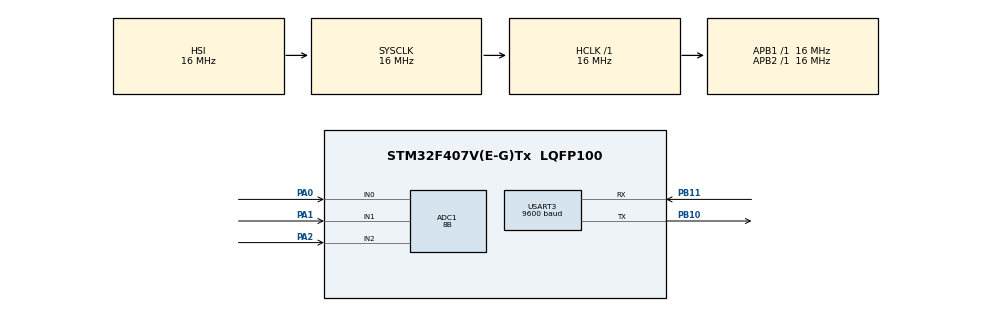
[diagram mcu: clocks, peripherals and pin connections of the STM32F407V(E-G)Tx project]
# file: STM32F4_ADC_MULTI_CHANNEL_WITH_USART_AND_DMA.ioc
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ADC1.Channel-0\#ChannelRegularConversion=ADC_CHANNEL_0
ADC1.Channel-1\#ChannelRegularConversion=ADC_CHANNEL_1
ADC1.Channel-2\#ChannelRegularConversion=ADC_CHANNEL_2
ADC1.ClockPrescaler=ADC_CLOCK_SYNC_PCLK_DIV8
ADC1.ContinuousConvMode=ENABLE
ADC1.DMAContinuousRequests=ENABLE
ADC1.EOCSelection=ADC_EOC_SINGLE_CONV
ADC1.NbrOfConversion=3
ADC1.NbrOfConversionFlag=1
ADC1.Rank-0\#ChannelRegularConversion=1
ADC1.Rank-1\#ChannelRegularConversion=2
ADC1.Rank-2\#ChannelRegularConversion=3
ADC1.Resolution=ADC_RESOLUTION_8B
ADC1.SamplingTime-0\#ChannelRegularConversion=ADC_SAMPLETIME_480CYCLES
ADC1.SamplingTime-1\#ChannelRegularConversion=ADC_SAMPLETIME_480CYCLES
ADC1.SamplingTime-2\#ChannelRegularConversion=ADC_SAMPLETIME_480CYCLES
ADC1.ScanConvMode=ENABLE
ADC1.master=1
Dma.ADC1.0.Direction=DMA_PERIPH_TO_MEMORY
Dma.ADC1.0.FIFOMode=DMA_FIFOMODE_DISABLE
Dma.ADC1.0.Instance=DMA2_Stream0
Dma.ADC1.0.MemDataAlignment=DMA_MDATAALIGN_BYTE
Dma.ADC1.0.MemInc=DMA_MINC_ENABLE
Dma.ADC1.0.Mode=DMA_CIRCULAR
Dma.ADC1.0.PeriphDataAlignment=DMA_PDATAALIGN_BYTE
Dma.ADC1.0.PeriphInc=DMA_PINC_DISABLE
Dma.ADC1.0.Priority=DMA_PRIORITY_LOW
Dma.Request0=ADC1
Mcu.Family=STM32F4
Mcu.Name=STM32F407V(E-G)Tx
Mcu.Package=LQFP100
NVIC.DMA2_Stream0_IRQn=true\:0\:0\:false\:false\:true\:false\:true
NVIC.PriorityGroup=NVIC_PRIORITYGROUP_4
PA0-WKUP.Signal=ADCx_IN0
PA1.Signal=ADCx_IN1
PA2.Signal=ADCx_IN2
PB10.Mode=Asynchronous
PB10.Signal=USART3_TX
PB11.Mode=Asynchronous
PB11.Signal=USART3_RX
ProjectManager.HeapSize=0x200
ProjectManager.StackSize=0x400
ProjectManager.TargetToolchain=STM32CubeIDE
RCC.AHBFreq_Value=16000000
RCC.APB1Freq_Value=16000000
RCC.APB2Freq_Value=16000000
RCC.CortexFreq_Value=16000000
RCC.HSE_VALUE=25000000
RCC.HSI_VALUE=16000000
RCC.LSE_VALUE=32768
RCC.SYSCLKFreq_VALUE=16000000
RCC.VCOOutputFreq_Value=192000000
SH.ADCx_IN0.0=ADC1_IN0,IN0
SH.ADCx_IN1.0=ADC1_IN1,IN1
SH.ADCx_IN2.0=ADC1_IN2,IN2
USART3.BaudRate=9600
USART3.Mode=MODE_TX
USART3.VirtualMode=VM_ASYNC
board=custom

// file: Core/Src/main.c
/* USER CODE BEGIN Header */
/**
  ******************************************************************************
  * @file           : main.c
  * @brief          : Main program body
  ******************************************************************************
  * @attention
  *
  * <h2><center>&copy; Copyright (c) 2020 STMicroelectronics.
  * All rights reserved.</center></h2>
  *
  * This software component is licensed by ST under BSD 3-Clause license,
  * the "License"; You may not use this file except in compliance with the
  * License. You may obtain a copy of the License at:
  *                        opensource.org/licenses/BSD-3-Clause
  *
  ******************************************************************************
  */
/* USER CODE END Header */
#include "main.h"

/* USER CODE BEGIN Includes */
#include "stdio.h"
#include "string.h"
/* USER CODE END Includes */

ADC_HandleTypeDef hadc1;
DMA_HandleTypeDef hdma_adc1;

UART_HandleTypeDef huart3;

/* USER CODE BEGIN PV */
uint8_t volatile getADCArray[3];
char string[25];
/* USER CODE END PV */

void SystemClock_Config(void);
static void MX_GPIO_Init(void);
static void MX_DMA_Init(void);
static void MX_ADC1_Init(void);
static void MX_USART3_UART_Init(void);

/* USER CODE BEGIN 0 */
void GPIO_Transmit_Value(void);
/* USER CODE END 0 */

int main(void)
{

  /* MCU Configuration--------------------------------------------------------*/

  /* Reset of all peripherals, Initializes the Flash interface and the Systick. */
  HAL_Init();

  /* Configure the system clock */
  SystemClock_Config();

  /* Initialize all configured peripherals */
  MX_GPIO_Init();
  MX_DMA_Init();
  MX_ADC1_Init();
  MX_USART3_UART_Init();
  /* USER CODE BEGIN 2 */
  HAL_ADC_Start_DMA(&hadc1, (uint32_t*)getADCArray, 3);
  /* USER CODE END 2 */

  /* Infinite loop */
  while (1)
  {

    /* USER CODE BEGIN 3 */
	GPIO_Transmit_Value();
  }
  /* USER CODE END 3 */
}

void SystemClock_Config(void)
{
  RCC_OscInitTypeDef RCC_OscInitStruct = {0};
  RCC_ClkInitTypeDef RCC_ClkInitStruct = {0};

  /** Configure the main internal regulator output voltage
  */
  __HAL_RCC_PWR_CLK_ENABLE();
  __HAL_PWR_VOLTAGESCALING_CONFIG(PWR_REGULATOR_VOLTAGE_SCALE1);
  /** Initializes the RCC Oscillators according to the specified parameters
  * in the RCC_OscInitTypeDef structure.
  */
  RCC_OscInitStruct.OscillatorType = RCC_OSCILLATORTYPE_HSI;
  RCC_OscInitStruct.HSIState = RCC_HSI_ON;
  RCC_OscInitStruct.HSICalibrationValue = RCC_HSICALIBRATION_DEFAULT;
  RCC_OscInitStruct.PLL.PLLState = RCC_PLL_NONE;
  if (HAL_RCC_OscConfig(&RCC_OscInitStruct) != HAL_OK)
  {
    Error_Handler();
  }
  /** Initializes the CPU, AHB and APB buses clocks
  */
  RCC_ClkInitStruct.ClockType = RCC_CLOCKTYPE_HCLK|RCC_CLOCKTYPE_SYSCLK
                              |RCC_CLOCKTYPE_PCLK1|RCC_CLOCKTYPE_PCLK2;
  RCC_ClkInitStruct.SYSCLKSource = RCC_SYSCLKSOURCE_HSI;
  RCC_ClkInitStruct.AHBCLKDivider = RCC_SYSCLK_DIV1;
  RCC_ClkInitStruct.APB1CLKDivider = RCC_HCLK_DIV1;
  RCC_ClkInitStruct.APB2CLKDivider = RCC_HCLK_DIV1;

  if (HAL_RCC_ClockConfig(&RCC_ClkInitStruct, FLASH_LATENCY_0) != HAL_OK)
  {
    Error_Handler();
  }
}

static void MX_ADC1_Init(void)
{

  ADC_ChannelConfTypeDef sConfig = {0};

  /** Configure the global features of the ADC (Clock, Resolution, Data Alignment and number of conversion)
  */
  hadc1.Instance = ADC1;
  hadc1.Init.ClockPrescaler = ADC_CLOCK_SYNC_PCLK_DIV8;
  hadc1.Init.Resolution = ADC_RESOLUTION_8B;
  hadc1.Init.ScanConvMode = ENABLE;
  hadc1.Init.ContinuousConvMode = ENABLE;
  hadc1.Init.DiscontinuousConvMode = DISABLE;
  hadc1.Init.ExternalTrigConvEdge = ADC_EXTERNALTRIGCONVEDGE_NONE;
  hadc1.Init.ExternalTrigConv = ADC_SOFTWARE_START;
  hadc1.Init.DataAlign = ADC_DATAALIGN_RIGHT;
  hadc1.Init.NbrOfConversion = 3;
  hadc1.Init.DMAContinuousRequests = ENABLE;
  hadc1.Init.EOCSelection = ADC_EOC_SINGLE_CONV;
  if (HAL_ADC_Init(&hadc1) != HAL_OK)
  {
    Error_Handler();
  }
  /** Configure for the selected ADC regular channel its corresponding rank in the sequencer and its sample time.
  */
  sConfig.Channel = ADC_CHANNEL_0;
  sConfig.Rank = 1;
  sConfig.SamplingTime = ADC_SAMPLETIME_480CYCLES;
  if (HAL_ADC_ConfigChannel(&hadc1, &sConfig) != HAL_OK)
  {
    Error_Handler();
  }
  /** Configure for the selected ADC regular channel its corresponding rank in the sequencer and its sample time.
  */
  sConfig.Channel = ADC_CHANNEL_1;
  sConfig.Rank = 2;
  if (HAL_ADC_ConfigChannel(&hadc1, &sConfig) != HAL_OK)
  {
    Error_Handler();
  }
  /** Configure for the selected ADC regular channel its corresponding rank in the sequencer and its sample time.
  */
  sConfig.Channel = ADC_CHANNEL_2;
  sConfig.Rank = 3;
  if (HAL_ADC_ConfigChannel(&hadc1, &sConfig) != HAL_OK)
  {
    Error_Handler();
  }

}

static void MX_USART3_UART_Init(void)
{

  huart3.Instance = USART3;
  huart3.Init.BaudRate = 9600;
  huart3.Init.WordLength = UART_WORDLENGTH_8B;
  huart3.Init.StopBits = UART_STOPBITS_1;
  huart3.Init.Parity = UART_PARITY_NONE;
  huart3.Init.Mode = UART_MODE_TX;
  huart3.Init.HwFlowCtl = UART_HWCONTROL_NONE;
  huart3.Init.OverSampling = UART_OVERSAMPLING_16;
  if (HAL_UART_Init(&huart3) != HAL_OK)
  {
    Error_Handler();
  }

}

static void MX_DMA_Init(void)
{

  /* DMA controller clock enable */
  __HAL_RCC_DMA2_CLK_ENABLE();

  /* DMA interrupt init */
  /* DMA2_Stream0_IRQn interrupt configuration */
  HAL_NVIC_SetPriority(DMA2_Stream0_IRQn, 0, 0);
  HAL_NVIC_EnableIRQ(DMA2_Stream0_IRQn);

}

static void MX_GPIO_Init(void)
{

  /* GPIO Ports Clock Enable */
  __HAL_RCC_GPIOA_CLK_ENABLE();
  __HAL_RCC_GPIOB_CLK_ENABLE();

}

/* USER CODE BEGIN 4 */
void GPIO_Transmit_Value()
{
	  HAL_UART_Transmit(&huart3, string, sprintf(string,"1. ADC VALUE: "), 1000);
	  sprintf(string, "%d", getADCArray[0]);
	  HAL_UART_Transmit(&huart3, string, strlen(string), 1000);
	  HAL_UART_Transmit(&huart3, string, sprintf(string,"\n"), 1000);
	  HAL_UART_Transmit(&huart3, string, sprintf(string,"2. ADC VALUE: "), 1000);
	  sprintf(string, "%d", getADCArray[1]);
	  HAL_UART_Transmit(&huart3, string, strlen(string), 1000);
	  HAL_UART_Transmit(&huart3, string, sprintf(string,"\n"), 1000);
	  HAL_UART_Transmit(&huart3, string, sprintf(string,"3. ADC VALUE: "), 1000);
	  sprintf(string, "%d", getADCArray[2]);
	  HAL_UART_Transmit(&huart3, string, strlen(string), 1000);
	  HAL_UART_Transmit(&huart3, string, sprintf(string,"\n\n"), 1000);
	  HAL_Delay(250);
}
/* USER CODE END 4 */

void Error_Handler(void)
{
  __disable_irq();
  while (1)
  {
  }
}

/************************ (C) COPYRIGHT STMicroelectronics *****END OF FILE****/
